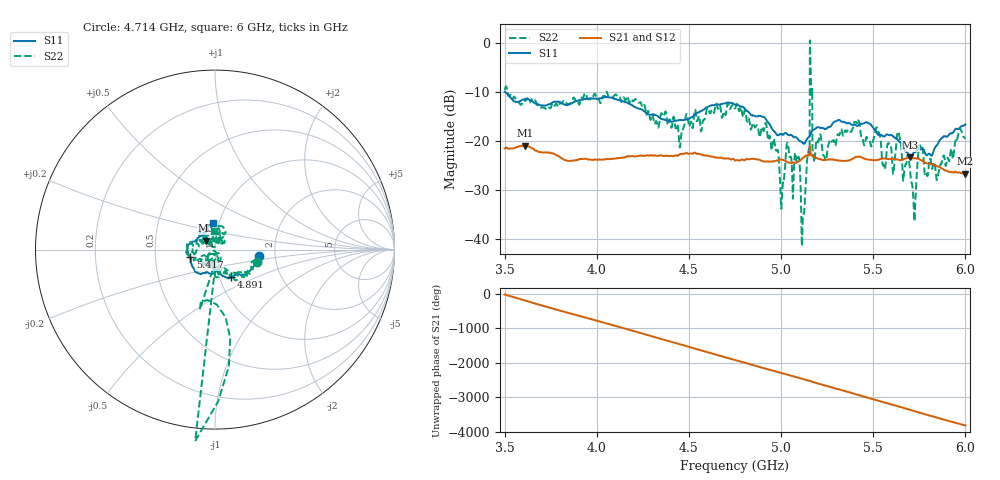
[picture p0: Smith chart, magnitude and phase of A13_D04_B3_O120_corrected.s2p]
! Created with skrf 1.9.0 (http://scikit-rf.org).
# Hz S RI R 50.0
!freq ReS11 ImS11 ReS21 ImS21 ReS12 ImS12 ReS22 ImS22
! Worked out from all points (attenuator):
!   1601 points, 3.5 GHz to 6 GHz, reference 50 ohm
!   highest |S21| = -20.93 dB at 3.609 GHz (marker M1); lowest = -26.7 dB at 6 GHz (marker M2)
!   lowest |S11| = -23.3 dB at 5.702 GHz (marker M3), VSWR 1.15, Z = 45.3 + j4.48 ohm
!   |S11| at or under -10 dB: 3.506 GHz to end of sweep
!   |S22| runs from -41.5 to 0.6 dB; largest |S21 - S12| = 0.0012
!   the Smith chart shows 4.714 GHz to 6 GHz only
!   S11 on the Smith chart (normalised r, x): 4.714 GHz: 1.65, -0.12; 4.891 GHz: 1.14, -0.36; 5.417 GHz: 0.76, -0.07; 6 GHz: 0.94, +0.29
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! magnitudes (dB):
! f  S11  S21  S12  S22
! 3.5 GHz  -9.9  -21.5  -21.4  -9.5
! 3.609 GHz  -11.4  -20.9  -20.9  -11.7
! 3.917 GHz  -11.5  -23.6  -23.6  -11.1
! 4.334 GHz  -15.0  -23.0  -22.9  -17.2
! 4.714 GHz  -12.1  -23.5  -23.5  -12.3
! 4.75 GHz  -12.5  -23.9  -23.8  -13.3
! 4.891 GHz  -14.9  -23.9  -23.9  -17.9
! 5.005 GHz  -18.6  -23.8  -23.8  -31.1
! 5.036 GHz  -18.7  -24.3  -24.2  -20.3
! 5.088 GHz  -19.4  -24.3  -24.3  -24.0
! 5.12 GHz  -20.5  -23.4  -23.3  -35.4
! 5.156 GHz  -18.9  -21.0  -20.9  0.6
! 5.167 GHz  -18.0  -22.7  -22.7  -10.3
! 5.183 GHz  -17.5  -23.3  -23.2  -23.7
! 5.237 GHz  -17.6  -23.8  -23.8  -23.5
! 5.417 GHz  -16.8  -23.2  -23.2  -16.0
! 5.584 GHz  -18.8  -23.6  -23.6  -20.4
! 5.702 GHz  -23.3  -23.5  -23.4  -26.8
! 5.722 GHz  -22.3  -23.5  -23.4  -35.2
! 5.756 GHz  -21.7  -23.8  -23.7  -21.2
! 5.85 GHz  -20.6  -25.2  -25.1  -27.2
! 6 GHz  -16.6  -26.7  -26.6  -19.5
